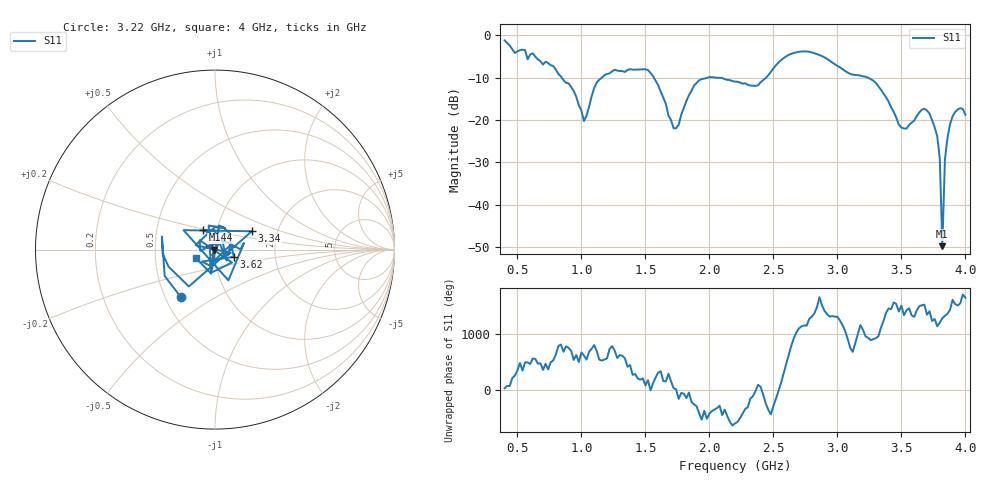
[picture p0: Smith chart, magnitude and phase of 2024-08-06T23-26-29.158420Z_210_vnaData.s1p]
!Created with skrf (http://scikit-rf.org).
# Hz S RI R 50.0
!freq ReS11 ImS11
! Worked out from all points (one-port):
!   181 points, 400 MHz to 4 GHz, reference 50 ohm
!   lowest |S11| = -49.8 dB at 3.82 GHz (marker M1), VSWR 1.01, Z = 49.7 - j0.104 ohm
!   |S11| at or under -10 dB: 1.567 GHz to 1.986 GHz (419.4 MHz wide, 23.6 % of centre); 2.081 GHz to 2.441 GHz (360.8 MHz wide, 16 % of centre); 3.241 GHz to end of sweep (the widest 3 of 5)
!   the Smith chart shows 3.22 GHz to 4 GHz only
!   S11 on the Smith chart (normalised r, x): 3.22 GHz: 0.60, -0.35; 3.34 GHz: 1.48, +0.32; 3.44 GHz: 0.86, +0.19; 3.62 GHz: 1.23, -0.10; 4 GHz: 0.81, -0.08
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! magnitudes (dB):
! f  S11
! 400 MHz  -1.2
! 860 MHz  -10.6
! 940 MHz  -13.1
! 1.02 GHz  -20.2
! 1.12 GHz  -11.1
! 1.3 GHz  -8.4
! 1.52 GHz  -8.2
! 1.72 GHz  -21.9
! 1.76 GHz  -21.1
! 1.92 GHz  -10.6
! 2.2 GHz  -10.9
! 2.38 GHz  -11.8
! 2.66 GHz  -4.1
! 3.1 GHz  -9.1
! 3.22 GHz  -9.8
! 3.34 GHz  -12.8
! 3.44 GHz  -18.0
! 3.5 GHz  -21.7
! 3.56 GHz  -21.1
! 3.62 GHz  -19.0
! 3.7 GHz  -17.7
! 3.78 GHz  -23.8
! 3.8 GHz  -29.1
! 3.82 GHz  -49.8
! 3.84 GHz  -29.3
! 3.86 GHz  -24.2
! 3.92 GHz  -18.1
! 4 GHz  -18.7
